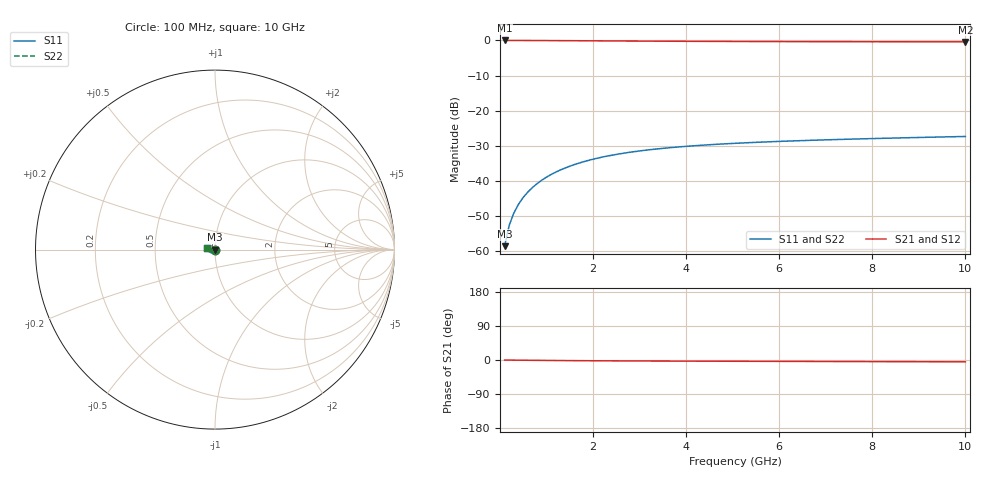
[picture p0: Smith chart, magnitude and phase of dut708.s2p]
! Touchstone file exported from HFSS 2024.1.0
!  File:  C:/UserFiles/LocalFiles/RDL_TSV_Batchsim/temp_TSV1_708_1779867187.aedt
!  Generated:  03:38:25 PM May 27, 2026
!  Design:  TSV1
!  Project:  temp_TSV1_708_1779867187
!  Setup:  Setup1
!  Solution:  Sweep
! Variables:
!  dtsv = 10.74um
!  hbump = 3um
!  htsv = 73.52um
!  lrdl = 252.1521522um
!  p = 40
!  p1 = 55.51um
!  t = 500um
!  trdl = 3um
!  wrdl = 24.89489489um
# GHz S MA R 50.000000
! Terminal data exported
! Port[1] = TSV22_T1
! Port[2] = TSV22_T2
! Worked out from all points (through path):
!   100 points, 100 MHz to 10 GHz, reference 50 ohm
!   highest |S21| = 0.00 dB at 100 MHz (marker M1); lowest = -0.4 dB at 10 GHz (marker M2)
!   lowest |S11| = -58.6 dB at 100 MHz (marker M3), VSWR 1.00, Z = 50 - j0.117 ohm
!   |S11| at or under -10 dB: start of sweep to end of sweep
!   |S22| runs from -58.6 to -27.4 dB; largest |S21 - S12| = 8e-15
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0.1  0.001169 -86.2  0.9998 -0.1  0.9998 -0.1  0.001169 -86.2
! Gamma 0 0 0 0
! Port Impedance 50 0 50 0
0.2  0.002329 -90.9  0.9997 -0.2  0.9997 -0.2  0.002329 -90.9
0.3  0.003489 -93.8  0.9995 -0.4  0.9995 -0.4  0.003489 -93.8
0.4  0.004644 -96.2  0.9992 -0.5  0.9992 -0.5  0.004644 -96.2
0.5  0.005789 -98.4  0.9988 -0.6  0.9988 -0.6  0.005789 -98.4
0.6  0.006921 -100.6  0.9984 -0.7  0.9984 -0.7  0.006921 -100.6
0.7  0.008037 -102.6  0.9979 -0.8  0.9979 -0.8  0.008037 -102.6
0.8  0.009133 -104.7  0.9973 -0.9  0.9973 -0.9  0.009133 -104.7
0.9  0.01021 -106.7  0.9967 -1.0  0.9967 -1.0  0.01021 -106.7
1.1  0.01229 -110.5  0.9953 -1.2  0.9953 -1.2  0.01229 -110.5
1.4  0.01521 -116.0  0.993 -1.5  0.993 -1.5  0.01521 -116.0
1.6  0.01701 -119.4  0.9913 -1.7  0.9913 -1.7  0.01701 -119.4
1.8  0.0187 -122.7  0.9896 -1.8  0.9896 -1.8  0.0187 -122.7
2.1  0.02103 -127.4  0.9869 -2.1  0.9869 -2.1  0.02103 -127.4
2.5  0.02374 -133.2  0.9834 -2.3  0.9834 -2.3  0.02374 -133.2
2.9  0.02608 -138.5  0.9802 -2.5  0.9802 -2.5  0.02608 -138.5
3.4  0.02854 -144.4  0.9765 -2.7  0.9765 -2.7  0.02854 -144.4
4.2  0.03165 -152.6  0.9715 -3.0  0.9715 -3.0  0.03165 -152.6
5.1  0.0343 -160.4  0.9671 -3.3  0.9671 -3.3  0.0343 -160.4
6.7  0.03776 -171.6  0.9617 -3.8  0.9617 -3.8  0.03776 -171.6
8.4  0.04054 178.9  0.9579 -4.4  0.9579 -4.4  0.04054 178.9
10  0.04279 171.4  0.9556 -4.9  0.9556 -4.9  0.04278 171.4
